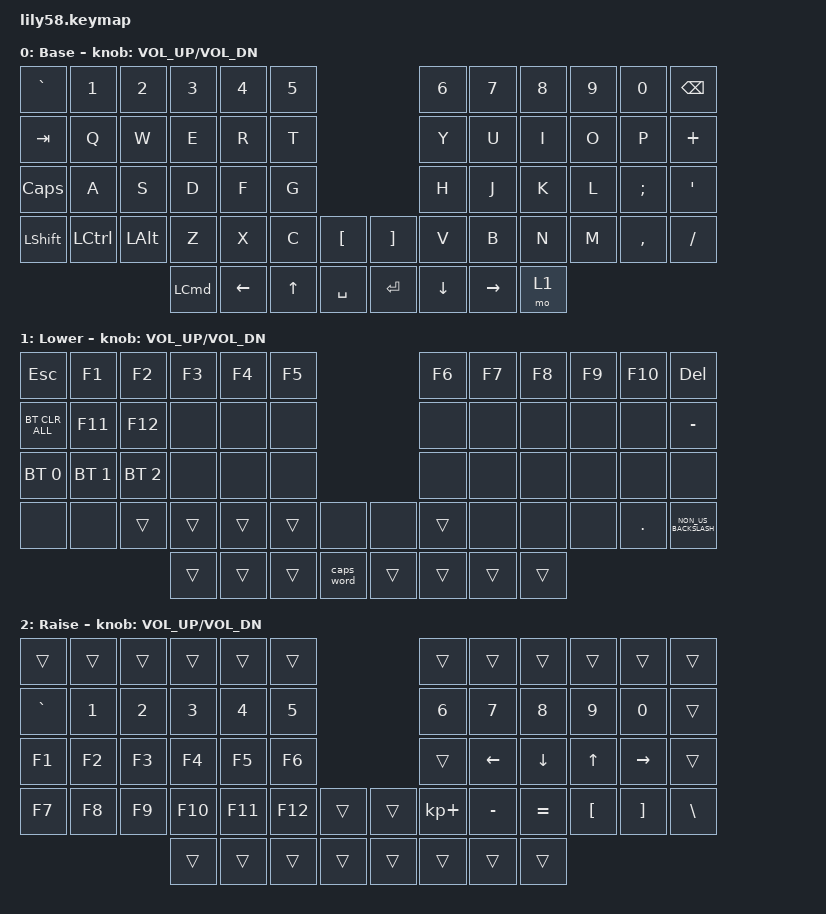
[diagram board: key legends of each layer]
/*
 * Copyright (c) 2020 The ZMK Contributors
 *
 * SPDX-License-Identifier: MIT
 */

#include <behaviors.dtsi>
#include <dt-bindings/zmk/bt.h>
#include <dt-bindings/zmk/keys.h>

/ {
    keymap {
        compatible = "zmk,keymap";

        default_layer {
            // ------------------------------------------------------------------------------------------------------------
            // |  ESC  |  1  |  2  |  3   |  4   |  5   |                   |  6   |  7    |  8    |  9   |   0   |   `   |
            // |  TAB  |  Q  |  W  |  E   |  R   |  T   |                   |  Y   |  U    |  I    |  O   |   P   |   -   |
            // |  CTRL |  A  |  S  |  D   |  F   |  G   |                   |  H   |  J    |  K    |  L   |   ;   |   '   |
            // | SHIFT |  Z  |  X  |  C   |  V   |  B   |   "["  |  |  "]"  |  N   |  M    |  ,    |  .   |   /   | SHIFT |
            //                     | ALT  | GUI  | LOWER|  SPACE |  | ENTER | RAISE| BSPC  | GUI   |

            display-name = "Base";
            bindings = <
&kp GRAVE       &kp N1     &kp N2        &kp N3    &kp N4    &kp N5                               &kp N6          &kp N7     &kp N8  &kp N9  &kp N0     &kp BACKSPACE
&kp TAB         &kp Q      &kp W         &kp E     &kp R     &kp T                                &kp Y           &kp U      &kp I   &kp O   &kp P      &kp PLUS
&kp CAPSLOCK    &kp A      &kp S         &kp D     &kp F     &kp G                                &kp H           &kp J      &kp K   &kp L   &kp SEMI   &kp SQT
&kp LEFT_SHIFT  &kp LCTRL  &kp LEFT_ALT  &kp Z     &kp X     &kp C         &kp LBKT     &kp RBKT  &kp V           &kp B      &kp N   &kp M   &kp COMMA  &kp SLASH
                                         &kp LCMD  &kp LEFT  &kp UP_ARROW  &kp SPACE    &kp RET   &kp DOWN_ARROW  &kp RIGHT  &mo 1
            >;

            sensor-bindings = <&inc_dec_kp C_VOL_UP C_VOL_DN>;
        };

        lower_layer {
            // ------------------------------------------------------------------------------------------------------------
            // | BTCLR | BT1 | BT2 |  BT3 |  BT4 |  BT5 |                   |      |       |       |      |       |       |
            // |  F1   |  F2 |  F3 |  F4  |  F5  |  F6  |                   |  F7  |  F8   |  F9   |  F10 |  F11  |  F12  |
            // |   `   |  !  |  @  |  #   |  $   |  %   |                   |  ^   |  &    |  *    |  (   |   )   |   ~   |
            // |       |     |     |      |      |      |        |  |       |      |  _    |  +    |  {   |   }   |  "|"  |
            //                     |      |      |      |        |  |       |      |       |       |

            display-name = "Lower";
            bindings = <
&kp ESCAPE      &kp F1        &kp F2        &kp F3  &kp F4  &kp F5                        &kp F6  &kp F7  &kp F8  &kp F9  &kp F10     &kp DEL
&bt BT_CLR_ALL  &kp F11       &kp F12       &none   &none   &none                         &none   &none   &none   &none   &none       &kp MINUS
&bt BT_SEL 0    &bt BT_SEL 1  &bt BT_SEL 2  &none   &none   &none                         &none   &none   &none   &none   &none       &none
&none           &none         &trans        &trans  &trans  &trans  &none         &none   &trans  &none   &none   &none   &kp PERIOD  &kp NON_US_BACKSLASH
                                            &trans  &trans  &trans  &caps_word    &trans  &trans  &trans  &trans
            >;

            sensor-bindings = <&inc_dec_kp C_VOL_UP C_VOL_DN>;
        };

        raise_layer {
            // ------------------------------------------------------------------------------------------------------------
            // |       |     |     |      |      |      |                   |      |       |       |      |       |       |
            // |   `   |  1  |  2  |  3   |  4   |  5   |                   |  6   |   7   |   8   |  9   |   0   |       |
            // |   F1  |  F2 |  F3 |  F4  |  F5  |  F6  |                   |      |   <-  |   v   |  ^   |  ->   |       |
            // |   F7  |  F8 |  F9 |  F10 |  F11 |  F12 |        |  |       |  +   |   -   |   =   |  [   |   ]   |   \   |
            //                     |      |      |      |        |  |       |      |       |       |

            display-name = "Raise";
            bindings = <
&trans     &trans  &trans  &trans   &trans   &trans                     &trans       &trans     &trans     &trans    &trans     &trans
&kp GRAVE  &kp N1  &kp N2  &kp N3   &kp N4   &kp N5                     &kp N6       &kp N7     &kp N8     &kp N9    &kp N0     &trans
&kp F1     &kp F2  &kp F3  &kp F4   &kp F5   &kp F6                     &trans       &kp LEFT   &kp DOWN   &kp UP    &kp RIGHT  &trans
&kp F7     &kp F8  &kp F9  &kp F10  &kp F11  &kp F12  &trans    &trans  &kp KP_PLUS  &kp MINUS  &kp EQUAL  &kp LBKT  &kp RBKT   &kp BSLH
                           &trans   &trans   &trans   &trans    &trans  &trans       &trans     &trans
            >;

            sensor-bindings = <&inc_dec_kp C_VOL_UP C_VOL_DN>;
        };

        extra_1 { status = "reserved"; };

        extra_2 { status = "reserved"; };

        extra_3 { status = "reserved"; };
    };
};
